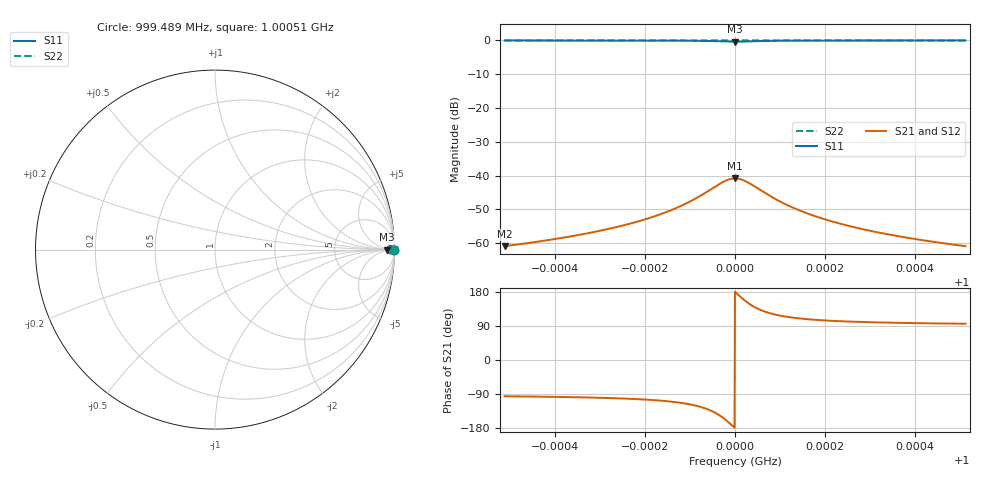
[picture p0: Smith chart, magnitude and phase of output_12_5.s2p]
! File generated for n1 = 12, n2 = 5
! b1 = 0.021544
! b2 = 0.001000
! Q0 = 10000.000000
! f0 = 1000000000.000000
! n = 1001
! rel_span = 10.000000
# Hz S RI R 50
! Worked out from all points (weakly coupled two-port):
!   1001 points, 999.489 MHz to 1.00051 GHz, reference 50 ohm
!   highest |S21| = -40.84 dB at 1 GHz (marker M1); lowest = -60.9 dB at 999.489 MHz (marker M2)
!   lowest |S11| = -0.4 dB at 1 GHz (marker M3), VSWR 46.46, Z = 2.32e+03 + j0 ohm
!   |S11| at or under -10 dB: nowhere
!   |S22| runs from 0.0 to 0.0 dB; largest |S21 - S12| = 0
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9.994887e8  0.9996 -0.00417  -8.98e-05 -0.000899  -8.98e-05 -0.000899  1 -0.000194
9.995767e8  0.9994 -0.00502  -0.00013 -0.00108  -0.00013 -0.00108  1 -0.000233
9.996595e8  0.9991 -0.00619  -0.0002 -0.00133  -0.0002 -0.00133  1 -0.000287
9.997536e8  0.9983 -0.00838  -0.000375 -0.00181  -0.000375 -0.00181  0.9999 -0.000389
9.997934e8  0.9976 -0.00983  -0.000524 -0.00212  -0.000524 -0.00212  0.9999 -0.000456
9.998303e8  0.9965 -0.0116  -0.000755 -0.00251  -0.000755 -0.00251  0.9998 -0.00054
9.99866e8  0.9946 -0.014  -0.00115 -0.00302  -0.00115 -0.00302  0.9998 -0.000652
9.998977e8  0.9916 -0.0169  -0.00182 -0.00363  -0.00182 -0.00363  0.9996 -0.000782
9.999223e8  0.9873 -0.0193  -0.00274 -0.00417  -0.00274 -0.00417  0.9994 -0.000898
9.999765e8  0.9652 -0.016  -0.00749 -0.00345  -0.00749 -0.00345  0.9984 -0.000743
9.999888e8  0.9598 -0.00884  -0.00866 -0.00191  -0.00866 -0.00191  0.9981 -0.00041
1e9  0.9579 0  -0.00908 0  -0.00908 0  0.998 0
1.000011e9  0.9598 0.00884  -0.00866 0.00191  -0.00866 0.00191  0.9981 0.00041
1.000024e9  0.9652 0.016  -0.00749 0.00345  -0.00749 0.00345  0.9984 0.000743
1.000078e9  0.9873 0.0193  -0.00274 0.00417  -0.00274 0.00417  0.9994 0.000898
1.000102e9  0.9916 0.0169  -0.00182 0.00363  -0.00182 0.00363  0.9996 0.000782
1.000135e9  0.9947 0.014  -0.00114 0.00301  -0.00114 0.00301  0.9998 0.000648
1.000171e9  0.9965 0.0116  -0.000747 0.00249  -0.000747 0.00249  0.9998 0.000537
1.000247e9  0.9983 0.00835  -0.000372 0.0018  -0.000372 0.0018  0.9999 0.000388
1.000342e9  0.9991 0.00617  -0.000199 0.00133  -0.000199 0.00133  1 0.000286
1.000424e9  0.9994 0.00501  -0.00013 0.00108  -0.00013 0.00108  1 0.000232
1.000511e9  0.9996 0.00417  -8.99e-05 0.000899  -8.99e-05 0.000899  1 0.000194
